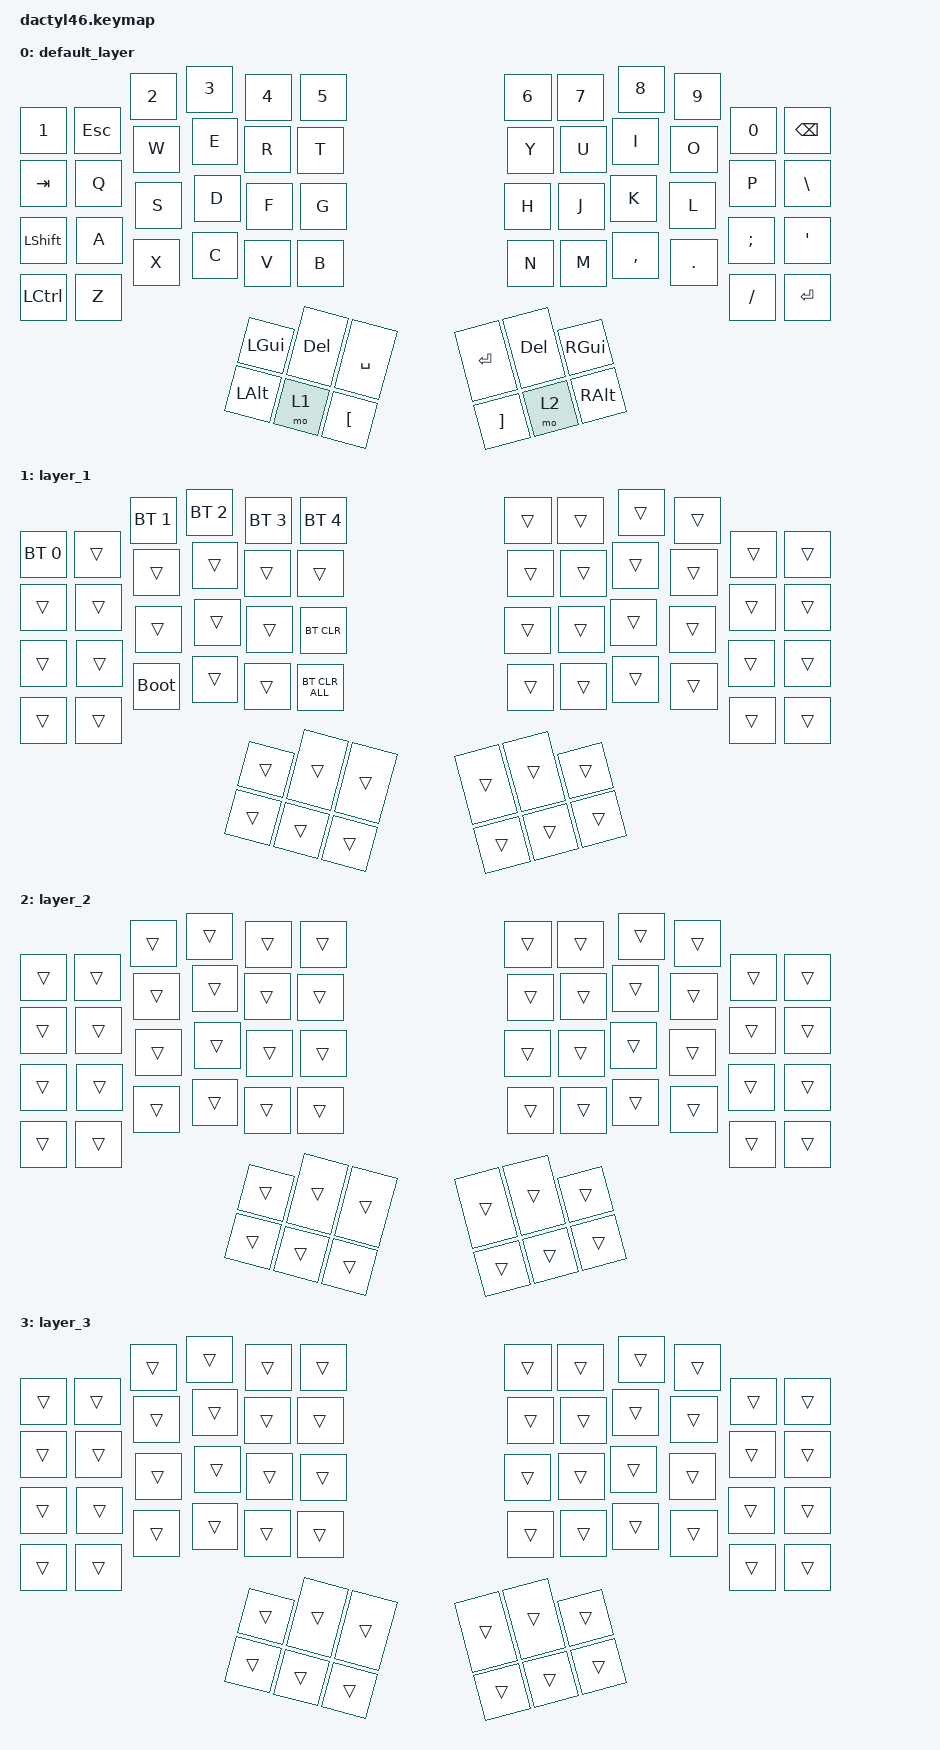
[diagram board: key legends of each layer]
#include <behaviors/rgbled_widget.dtsi>
#include <behaviors.dtsi>
#include <dt-bindings/zmk/bt.h>
#include <dt-bindings/zmk/keys.h>

/ {
    //    combos {
    //        compatible = "zmk,combos";
    //
    //        bluetooth {
    //            bindings = <&mo 3>;
    //            key-positions = <41 36>;
    //        };
    //
    //        bt2 {
    //            bindings = <&mo 3>;
    //            key-positions = <48 53>;
    //        };
    //    };
    //
    //    behaviors {
    //        hml: hml {
    //            compatible = "zmk,behavior-hold-tap";
    //            label = "HOME_ROW_LEFT";
    //            bindings = <&kp>, <&kp>;
    //
    //            #binding-cells = <2>;
    //            hold-trigger-key-positions = <6 7 8 9 10 11 18 19 20 21 22 23 30 31 32 33 34 35 42 43 44 45 46 47>;
    //            tapping-term-ms = <180>;
    //            quick-tap-ms = <175>;
    //            require-prior-idle-ms = <150>;
    //            flavor = "balanced";
    //            hold-trigger-on-release;
    //        };
    //
    //        hmr: hmr {
    //            compatible = "zmk,behavior-hold-tap";
    //            label = "HOME_ROW_RIGHT";
    //            bindings = <&kp>, <&kp>;
    //
    //            #binding-cells = <2>;
    //            tapping-term-ms = <180>;
    //            quick-tap-ms = <175>;
    //            require-prior-idle-ms = <150>;
    //            flavor = "balanced";
    //            hold-trigger-key-positions = <0 1 2 3 4 5 12 13 14 15 16 17 24 25 26 27 28 29 36 37 38 39 40 41>;
    //            hold-trigger-on-release;
    //        };
    //    };
    //

    keymap {
        compatible = "zmk,keymap";

        default_layer {
            // -----------------------------------------------------------------------------------------
            //  |  Q  |  W  |  E  |  R  |  T  |   |  Y  |  U   |  I  |  O  |  P  |
            //  |  A  |  S  |  D  |  F  |  G  |   |  H  |  J   |  K  |  L  |  ;  |
            //  |  Z  |  X  |  C  |  V  |  B  |   |  N  |  M   |  ,  |  .  |  /  |
            //              | GUI | LWR | SPC |   | ENT | RSE  | ALT |

            bindings = <
&kp ESC    &kp N1  &kp N2  &kp N3    &kp N4   &kp N5     &kp N6    &kp N7   &kp N8     &kp N9   &kp N0    &kp BSPC
&kp TAB    &kp Q   &kp W   &kp E     &kp R    &kp T      &kp Y     &kp U    &kp I      &kp O    &kp P     &kp BSLH
&kp LSHFT  &kp A   &kp S   &kp D     &kp F    &kp G      &kp H     &kp J    &kp K      &kp L    &kp SEMI  &kp SQT
&kp LCTRL  &kp Z   &kp X   &kp C     &kp V    &kp B      &kp N     &kp M    &kp COMMA  &kp DOT  &kp FSLH  &kp RET
                           &kp LGUI  &kp DEL  &kp SPACE  &kp RET   &kp DEL  &kp RGUI
                           &kp LALT  &mo 1    &kp LBKT   &kp RBKT  &mo 2    &kp RALT
            >;
        };

        layer_1 {
            bindings = <
&trans  &bt BT_SEL 0  &bt BT_SEL 1  &bt BT_SEL 2  &bt BT_SEL 3  &bt BT_SEL 4    &trans  &trans  &trans  &trans  &trans  &trans
&trans  &trans        &trans        &trans        &trans        &trans          &trans  &trans  &trans  &trans  &trans  &trans
&trans  &trans        &trans        &trans        &trans        &bt BT_CLR      &trans  &trans  &trans  &trans  &trans  &trans
&trans  &trans        &bootloader   &trans        &trans        &bt BT_CLR_ALL  &trans  &trans  &trans  &trans  &trans  &trans
                                    &trans        &trans        &trans          &trans  &trans  &trans
                                    &trans        &trans        &trans          &trans  &trans  &trans
            >;
        };

        layer_2 {
            bindings = <
&trans  &trans  &trans  &trans  &trans  &trans  &trans  &trans  &trans  &trans  &trans  &trans
&trans  &trans  &trans  &trans  &trans  &trans  &trans  &trans  &trans  &trans  &trans  &trans
&trans  &trans  &trans  &trans  &trans  &trans  &trans  &trans  &trans  &trans  &trans  &trans
&trans  &trans  &trans  &trans  &trans  &trans  &trans  &trans  &trans  &trans  &trans  &trans
                        &trans  &trans  &trans  &trans  &trans  &trans
                        &trans  &trans  &trans  &trans  &trans  &trans
            >;
        };

        layer_3 {
            bindings = <
&trans  &trans  &trans  &trans  &trans  &trans  &trans  &trans  &trans  &trans  &trans  &trans
&trans  &trans  &trans  &trans  &trans  &trans  &trans  &trans  &trans  &trans  &trans  &trans
&trans  &trans  &trans  &trans  &trans  &trans  &trans  &trans  &trans  &trans  &trans  &trans
&trans  &trans  &trans  &trans  &trans  &trans  &trans  &trans  &trans  &trans  &trans  &trans
                        &trans  &trans  &trans  &trans  &trans  &trans
                        &trans  &trans  &trans  &trans  &trans  &trans
            >;
        };
    };
};
